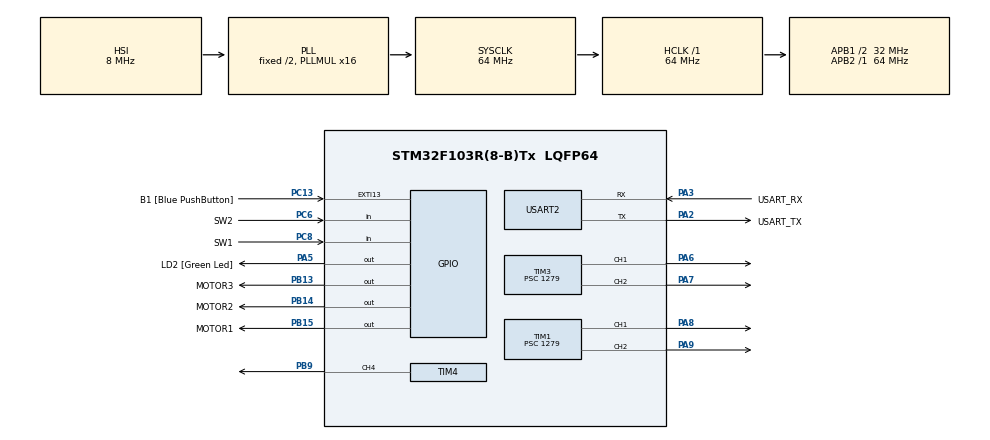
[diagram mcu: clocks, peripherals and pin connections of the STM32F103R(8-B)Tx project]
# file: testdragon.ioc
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Mcu.Family=STM32F1
Mcu.Name=STM32F103R(8-B)Tx
Mcu.Package=LQFP64
NVIC.EXTI15_10_IRQn=true\:0\:0\:false\:false\:true\:true\:true\:true
NVIC.PriorityGroup=NVIC_PRIORITYGROUP_4
NVIC.USART2_IRQn=true\:0\:0\:false\:false\:true\:true\:true\:true
PA13.GPIO_Label=TMS
PA13.Mode=Serial_Wire
PA13.Signal=SYS_JTMS-SWDIO
PA14.GPIO_Label=TCK
PA14.Mode=Serial_Wire
PA14.Signal=SYS_JTCK-SWCLK
PA2.GPIO_Label=USART_TX
PA2.GPIO_Mode=GPIO_MODE_AF_PP
PA2.GPIO_PuPd=GPIO_NOPULL
PA2.GPIO_Speed=GPIO_SPEED_FREQ_LOW
PA2.Mode=Asynchronous
PA2.Signal=USART2_TX
PA3.GPIO_Label=USART_RX
PA3.GPIO_Mode=GPIO_MODE_AF_PP
PA3.GPIO_PuPd=GPIO_NOPULL
PA3.GPIO_Speed=GPIO_SPEED_FREQ_LOW
PA3.Mode=Asynchronous
PA3.Signal=USART2_RX
PA5.GPIO_Label=LD2 [Green Led]
PA5.GPIO_ModeDefaultOutputPP=GPIO_MODE_OUTPUT_PP
PA5.GPIO_PuPd=GPIO_NOPULL
PA5.GPIO_Speed=GPIO_SPEED_FREQ_LOW
PA5.Signal=GPIO_Output
PA6.Signal=S_TIM3_CH1
PA7.Signal=S_TIM3_CH2
PA8.Signal=S_TIM1_CH1
PA9.Signal=S_TIM1_CH2
PB13.GPIO_Label=MOTOR3
PB13.GPIO_PuPd=GPIO_PULLUP
PB13.Signal=GPIO_Output
PB14.GPIO_Label=MOTOR2
PB14.GPIO_PuPd=GPIO_PULLUP
PB14.Signal=GPIO_Output
PB15.GPIO_Label=MOTOR1
PB15.GPIO_PuPd=GPIO_PULLUP
PB15.Signal=GPIO_Output
PB3.GPIO_Label=SWO
PB3.Signal=SYS_JTDO-TRACESWO
PB9.Signal=S_TIM4_CH4
PC13-TAMPER-RTC.GPIO_Label=B1 [Blue PushButton]
PC13-TAMPER-RTC.GPIO_PuPd=GPIO_NOPULL
PC13-TAMPER-RTC.Signal=GPXTI13
PC14-OSC32_IN.Signal=RCC_OSC32_IN
PC15-OSC32_OUT.Signal=RCC_OSC32_OUT
PC6.GPIO_Label=SW2
PC6.GPIO_PuPd=GPIO_PULLUP
PC6.Signal=GPIO_Input
PC8.GPIO_Label=SW1
PC8.GPIO_PuPd=GPIO_PULLUP
PC8.Signal=GPIO_Input
PD0-OSC_IN.Signal=RCC_OSC_IN
PD1-OSC_OUT.Signal=RCC_OSC_OUT
ProjectManager.HeapSize=0x200
ProjectManager.StackSize=0x400
ProjectManager.TargetToolchain=STM32CubeIDE
RCC.AHBFreq_Value=64000000
RCC.APB1CLKDivider=RCC_HCLK_DIV2
RCC.APB1Freq_Value=32000000
RCC.APB1TimFreq_Value=64000000
RCC.APB2Freq_Value=64000000
RCC.APB2TimFreq_Value=64000000
RCC.HCLKFreq_Value=64000000
RCC.PLLMUL=RCC_PLL_MUL16
RCC.RTCClockSelection=RCC_RTCCLKSOURCE_LSE
RCC.SYSCLKFreq_VALUE=64000000
RCC.SYSCLKSource=RCC_SYSCLKSOURCE_PLLCLK
RCC.USBFreq_Value=64000000
SH.S_TIM1_CH1.0=TIM1_CH1,PWM Generation1 CH1
SH.S_TIM1_CH2.0=TIM1_CH2,PWM Generation2 CH2
SH.S_TIM3_CH1.0=TIM3_CH1,PWM Generation1 CH1
SH.S_TIM3_CH2.0=TIM3_CH2,PWM Generation2 CH2
SH.S_TIM4_CH4.0=TIM4_CH4,PWM Generation4 CH4
TIM1.Channel-PWM\ Generation1\ CH1=TIM_CHANNEL_1
TIM1.Channel-PWM\ Generation2\ CH2=TIM_CHANNEL_2
TIM1.Period=999
TIM1.Prescaler=1279
TIM3.Channel-PWM\ Generation1\ CH1=TIM_CHANNEL_1
TIM3.Channel-PWM\ Generation2\ CH2=TIM_CHANNEL_2
TIM3.Period=999
TIM3.Prescaler=1279
TIM4.Channel-PWM\ Generation4\ CH4=TIM_CHANNEL_4
TIM4.Period=999
TIM4.Prescaler=1279
USART2.VirtualMode=VM_ASYNC
VP_TIM1_VS_ClockSourceINT.Mode=Internal
VP_TIM3_VS_ClockSourceINT.Mode=Internal
VP_TIM4_VS_ClockSourceINT.Mode=Internal
board=NUCLEO-F103RB

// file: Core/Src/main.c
/* USER CODE BEGIN Header */
/**
  ******************************************************************************
  * @file           : main.c
  * @brief          : Main program body
  ******************************************************************************
  * @attention
  *
  * Copyright (c) 2023 STMicroelectronics.
  * All rights reserved.
  *
  * This software is licensed under terms that can be found in the LICENSE file
  * in the root directory of this software component.
  * If no LICENSE file comes with this software, it is provided AS-IS.
  *
  ******************************************************************************
  */
/* USER CODE END Header */
#include "main.h"

/* USER CODE BEGIN Includes */
#include<stdio.h>
#include<string.h>
/* USER CODE END Includes */

/* USER CODE BEGIN PD */
#define ON  0
#define OFF 1
#define PINDIRA GPIO_PIN_15
#define PINDIRB GPIO_PIN_14
#define PINPWM GPIO_PIN_13
#define SWUP GPIO_PIN_8
#define SWDN GPIO_PIN_6
/* USER CODE END PD */

TIM_HandleTypeDef htim1;
TIM_HandleTypeDef htim3;
TIM_HandleTypeDef htim4;

UART_HandleTypeDef huart2;

/* USER CODE BEGIN PV */
uint8_t str[10];
uint8_t pos_pan;
uint8_t pos_tilt;
uint8_t cam_tilt;
uint8_t digits;
int debounce_delay = 160;
int led_state  = 0;
char SystemStatus[20];
/* USER CODE END PV */

void SystemClock_Config(void);
static void MX_GPIO_Init(void);
static void MX_USART2_UART_Init(void);
static void MX_TIM1_Init(void);
static void MX_TIM4_Init(void);
static void MX_TIM3_Init(void);
/* USER CODE BEGIN PFP */
int check_digit(void);
void _up();
void _down();
void _stop();
/* USER CODE END PFP */

/* USER CODE BEGIN 0 */
#ifdef __GNUC__
/* With GCC, small printf (option LD Linker->Libraries->Small printf
   set to 'Yes') calls __io_putchar() */
#define PUTCHAR_PROTOTYPE int __io_putchar(int ch)
#else
#define PUTCHAR_PROTOTYPE int fputc(int ch, FILE *f)
#endif /* __GNUC__ */

/**
  * @brief  Retargets the C library printf function to the USART.
  * @param  None
  * @retval None
  */
PUTCHAR_PROTOTYPE
{
  /* Place your implementation of fputc here */
  /* e.g. write a character to the USART1 and Loop until the end of transmission */
  if (ch == '\n')
    HAL_UART_Transmit (&huart2, (uint8_t*) "\r", 1, 0xFFFF);
  HAL_UART_Transmit (&huart2, (uint8_t*) &ch, 1, 0xFFFF);

  return ch;
}
/* USER CODE END 0 */

int main(void)
{
  /* USER CODE BEGIN 1 */

	void _up() {
	  //digitalWrite(pinDirA, LOW );
	  //digitalWrite(pinDirB, HIGH);
	  //analogWrite(pinPWM, pwmValue);
		HAL_GPIO_WritePin(GPIOB, GPIO_PIN_15, 0);
		HAL_GPIO_WritePin(GPIOB, GPIO_PIN_14, 1);
		HAL_GPIO_WritePin(GPIOB, GPIO_PIN_13, 1);
	}

	void _down() {
	  //digitalWrite(pinDirA, HIGH);
	  //digitalWrite(pinDirB, LOW );
	  //analogWrite(pinPWM, pwmValue);
	  HAL_GPIO_WritePin(GPIOB,GPIO_PIN_15 , 1);
	  HAL_GPIO_WritePin(GPIOB, GPIO_PIN_14, 0);
	  HAL_GPIO_WritePin(GPIOB, GPIO_PIN_13, 1);
	}

	void _stop() {
	  //digitalWrite(pinDirA, HIGH);
	  //digitalWrite(pinDirB, HIGH);
	  //analogWrite(pinPWM, LOW);
		HAL_GPIO_WritePin(GPIOB, GPIO_PIN_15, 1);
		HAL_GPIO_WritePin(GPIOB, GPIO_PIN_14, 1);
		HAL_GPIO_WritePin(GPIOB, GPIO_PIN_13, 0);
	}

  /* USER CODE END 1 */

  /* MCU Configuration--------------------------------------------------------*/

  /* Reset of all peripherals, Initializes the Flash interface and the Systick. */
  HAL_Init();

  /* Configure the system clock */
  SystemClock_Config();

  /* Initialize all configured peripherals */
  MX_GPIO_Init();
  MX_USART2_UART_Init();
  MX_TIM1_Init();
  MX_TIM4_Init();
  MX_TIM3_Init();

  /* Infinite loop */
  /* USER CODE BEGIN WHILE */
	  HAL_TIM_PWM_Start(&htim1,TIM_CHANNEL_1);
	  HAL_TIM_PWM_Start(&htim1,TIM_CHANNEL_2);
	  HAL_TIM_PWM_Start(&htim3,TIM_CHANNEL_1);
	  HAL_TIM_PWM_Start(&htim3,TIM_CHANNEL_2);
	  HAL_TIM_PWM_Start(&htim4,TIM_CHANNEL_4);

	  printf("===\n");
	  pos_pan = 100;
	  pos_tilt = 25;
	  cam_tilt = 111;

//dw > down
//up > up
	  while (1)
	  {
    /* USER CODE END WHILE */

    /* USER CODE BEGIN 3 */

		  /////////////////////////////////////////////////////////////////////////////////////////////////////GPIO

		  HAL_UART_Receive(&huart2, str, 2, 100);

		  char *ptr1_str = strstr(str, "0"); // sub_moter close
		  char *ptr2_str = strstr(str, "1"); // sub_moter open
		  //
		  char *ptr3_str = strstr(str, "DW"); //camera down
		  char *ptr4_str = strstr(str, "UP"); //camera up

		  char *ptr5_str = strstr(str, "RE"); //camera 75
		  char *ptr6_str = strstr(str, "CT"); //camera 110

		  char *ptr7_str = strstr(str, "3"); //LIFT DOWN
		  char *ptr8_str = strstr(str, "4"); //LIFT UP
		  strcpy(SystemStatus, "SystemStatus");

		  /////////////////////////////////////////////////////////////////////////////////////////////
		  if(ptr7_str !=NULL) {

			  //HAL_GPIO_WritePin(GPIOx, GPIO_Pin, PinState)
			  strcpy(SystemStatus, "LIFTUP");
			  //printf("LIFTUP");
			  _up();

			  while (HAL_GPIO_ReadPin(GPIOC,GPIO_PIN_8) == 1){}
				  _stop();
			  //printf("Lift up complete!");
			  strcpy(SystemStatus, "Lift up complete!");

		  }
		  if (ptr8_str !=NULL){
			  //HAL_GPIO_WritePin(GPIOx, GPIO_Pin, PinState)
			  strcpy(SystemStatus, "LIFTDOWN");
			  //printf("LIFTDOWN");
			  _down();

			  while  (HAL_GPIO_ReadPin(GPIOC,GPIO_PIN_6) == 1){}
				  _stop();
			  //printf("Lift down complete!");
			  strcpy(SystemStatus, "Lift down complete!");

		  }

		  //////////////////////////////////////////////////////////////////////////////////////////////////////TIMER

	 	  if(ptr1_str !=NULL){ // sub_moter close

			  pos_pan = 100;
			  pos_tilt = 25;
			  strcpy(SystemStatus, "sub_moter close");
		  }
		  if(ptr2_str !=NULL ){ // sub_moter open

			  pos_pan = 30;
			  pos_tilt = 100;
			  strcpy(SystemStatus, "sub_moter open");

		  }
		  ///////////////////
	 	  if(ptr3_str !=NULL){ // DW, camera down

	 		 cam_tilt = cam_tilt - 1;
	 		strcpy(SystemStatus, "DW, camera down");

	 	  }
	 	  if(ptr4_str !=NULL ){ //UP, camera up

	 		 cam_tilt = cam_tilt + 1;
	 		strcpy(SystemStatus, "UP, camera up");

	 	  }
	 	  /////////////
	 	  if(ptr5_str !=NULL){ // RE, camera 75

	 		 cam_tilt = 120;
	 		strcpy(SystemStatus, "RE, camera 75");

	 	  }
	 	  if(ptr6_str !=NULL ){ //CT, camera 110

	 		 cam_tilt = 75;
	 		strcpy(SystemStatus, "CT, camera 110");

	 	  }
	 	  /////////////
	 	  if(cam_tilt <= 94){
	 		 cam_tilt =94;
	 	  }
	 	  if(cam_tilt >= 111){
			 cam_tilt =111;
		  }

	 	 TIM1 -> CCR1 = pos_tilt;
	 	 TIM1 -> CCR2 = pos_pan;
	 	 TIM4 -> CCR4 = cam_tilt;

	//	  __HAL_TIM_SetCompare(&htim1, &hadc1, pos_tilt);
	//	  __HAL_TIM_SetCompare(&htim1, &hadc2, pos_pan);
	 	//TIM1->CCR1 = pos_pan;
	 	//TIM1->CCR2= pos_tilt;
		  printf("SystemStatus = %s pos_pan = %d pos_tlt = %d cam_tilt =%d   \n",SystemStatus, pos_pan, pos_tilt, cam_tilt);

	  }

  /* USER CODE END 3 */
}

void SystemClock_Config(void)
{
  RCC_OscInitTypeDef RCC_OscInitStruct = {0};
  RCC_ClkInitTypeDef RCC_ClkInitStruct = {0};

  /** Initializes the RCC Oscillators according to the specified parameters
  * in the RCC_OscInitTypeDef structure.
  */
  RCC_OscInitStruct.OscillatorType = RCC_OSCILLATORTYPE_HSI;
  RCC_OscInitStruct.HSIState = RCC_HSI_ON;
  RCC_OscInitStruct.HSICalibrationValue = RCC_HSICALIBRATION_DEFAULT;
  RCC_OscInitStruct.PLL.PLLState = RCC_PLL_ON;
  RCC_OscInitStruct.PLL.PLLSource = RCC_PLLSOURCE_HSI_DIV2;
  RCC_OscInitStruct.PLL.PLLMUL = RCC_PLL_MUL16;
  if (HAL_RCC_OscConfig(&RCC_OscInitStruct) != HAL_OK)
  {
    Error_Handler();
  }

  /** Initializes the CPU, AHB and APB buses clocks
  */
  RCC_ClkInitStruct.ClockType = RCC_CLOCKTYPE_HCLK|RCC_CLOCKTYPE_SYSCLK
                              |RCC_CLOCKTYPE_PCLK1|RCC_CLOCKTYPE_PCLK2;
  RCC_ClkInitStruct.SYSCLKSource = RCC_SYSCLKSOURCE_PLLCLK;
  RCC_ClkInitStruct.AHBCLKDivider = RCC_SYSCLK_DIV1;
  RCC_ClkInitStruct.APB1CLKDivider = RCC_HCLK_DIV2;
  RCC_ClkInitStruct.APB2CLKDivider = RCC_HCLK_DIV1;

  if (HAL_RCC_ClockConfig(&RCC_ClkInitStruct, FLASH_LATENCY_2) != HAL_OK)
  {
    Error_Handler();
  }
}

static void MX_TIM1_Init(void)
{

  TIM_ClockConfigTypeDef sClockSourceConfig = {0};
  TIM_MasterConfigTypeDef sMasterConfig = {0};
  TIM_OC_InitTypeDef sConfigOC = {0};
  TIM_BreakDeadTimeConfigTypeDef sBreakDeadTimeConfig = {0};

  htim1.Instance = TIM1;
  htim1.Init.Prescaler = 1279;
  htim1.Init.CounterMode = TIM_COUNTERMODE_UP;
  htim1.Init.Period = 999;
  htim1.Init.ClockDivision = TIM_CLOCKDIVISION_DIV1;
  htim1.Init.RepetitionCounter = 0;
  htim1.Init.AutoReloadPreload = TIM_AUTORELOAD_PRELOAD_DISABLE;
  if (HAL_TIM_Base_Init(&htim1) != HAL_OK)
  {
    Error_Handler();
  }
  sClockSourceConfig.ClockSource = TIM_CLOCKSOURCE_INTERNAL;
  if (HAL_TIM_ConfigClockSource(&htim1, &sClockSourceConfig) != HAL_OK)
  {
    Error_Handler();
  }
  if (HAL_TIM_PWM_Init(&htim1) != HAL_OK)
  {
    Error_Handler();
  }
  sMasterConfig.MasterOutputTrigger = TIM_TRGO_RESET;
  sMasterConfig.MasterSlaveMode = TIM_MASTERSLAVEMODE_DISABLE;
  if (HAL_TIMEx_MasterConfigSynchronization(&htim1, &sMasterConfig) != HAL_OK)
  {
    Error_Handler();
  }
  sConfigOC.OCMode = TIM_OCMODE_PWM1;
  sConfigOC.Pulse = 0;
  sConfigOC.OCPolarity = TIM_OCPOLARITY_HIGH;
  sConfigOC.OCNPolarity = TIM_OCNPOLARITY_HIGH;
  sConfigOC.OCFastMode = TIM_OCFAST_DISABLE;
  sConfigOC.OCIdleState = TIM_OCIDLESTATE_RESET;
  sConfigOC.OCNIdleState = TIM_OCNIDLESTATE_RESET;
  if (HAL_TIM_PWM_ConfigChannel(&htim1, &sConfigOC, TIM_CHANNEL_1) != HAL_OK)
  {
    Error_Handler();
  }
  if (HAL_TIM_PWM_ConfigChannel(&htim1, &sConfigOC, TIM_CHANNEL_2) != HAL_OK)
  {
    Error_Handler();
  }
  sBreakDeadTimeConfig.OffStateRunMode = TIM_OSSR_DISABLE;
  sBreakDeadTimeConfig.OffStateIDLEMode = TIM_OSSI_DISABLE;
  sBreakDeadTimeConfig.LockLevel = TIM_LOCKLEVEL_OFF;
  sBreakDeadTimeConfig.DeadTime = 0;
  sBreakDeadTimeConfig.BreakState = TIM_BREAK_DISABLE;
  sBreakDeadTimeConfig.BreakPolarity = TIM_BREAKPOLARITY_HIGH;
  sBreakDeadTimeConfig.AutomaticOutput = TIM_AUTOMATICOUTPUT_DISABLE;
  if (HAL_TIMEx_ConfigBreakDeadTime(&htim1, &sBreakDeadTimeConfig) != HAL_OK)
  {
    Error_Handler();
  }
  HAL_TIM_MspPostInit(&htim1);

}

static void MX_TIM3_Init(void)
{

  TIM_ClockConfigTypeDef sClockSourceConfig = {0};
  TIM_MasterConfigTypeDef sMasterConfig = {0};
  TIM_OC_InitTypeDef sConfigOC = {0};

  htim3.Instance = TIM3;
  htim3.Init.Prescaler = 1279;
  htim3.Init.CounterMode = TIM_COUNTERMODE_UP;
  htim3.Init.Period = 999;
  htim3.Init.ClockDivision = TIM_CLOCKDIVISION_DIV1;
  htim3.Init.AutoReloadPreload = TIM_AUTORELOAD_PRELOAD_DISABLE;
  if (HAL_TIM_Base_Init(&htim3) != HAL_OK)
  {
    Error_Handler();
  }
  sClockSourceConfig.ClockSource = TIM_CLOCKSOURCE_INTERNAL;
  if (HAL_TIM_ConfigClockSource(&htim3, &sClockSourceConfig) != HAL_OK)
  {
    Error_Handler();
  }
  if (HAL_TIM_PWM_Init(&htim3) != HAL_OK)
  {
    Error_Handler();
  }
  sMasterConfig.MasterOutputTrigger = TIM_TRGO_RESET;
  sMasterConfig.MasterSlaveMode = TIM_MASTERSLAVEMODE_DISABLE;
  if (HAL_TIMEx_MasterConfigSynchronization(&htim3, &sMasterConfig) != HAL_OK)
  {
    Error_Handler();
  }
  sConfigOC.OCMode = TIM_OCMODE_PWM1;
  sConfigOC.Pulse = 0;
  sConfigOC.OCPolarity = TIM_OCPOLARITY_HIGH;
  sConfigOC.OCFastMode = TIM_OCFAST_DISABLE;
  if (HAL_TIM_PWM_ConfigChannel(&htim3, &sConfigOC, TIM_CHANNEL_1) != HAL_OK)
  {
    Error_Handler();
  }
  if (HAL_TIM_PWM_ConfigChannel(&htim3, &sConfigOC, TIM_CHANNEL_2) != HAL_OK)
  {
    Error_Handler();
  }
  HAL_TIM_MspPostInit(&htim3);

}

static void MX_TIM4_Init(void)
{

  TIM_ClockConfigTypeDef sClockSourceConfig = {0};
  TIM_MasterConfigTypeDef sMasterConfig = {0};
  TIM_OC_InitTypeDef sConfigOC = {0};

  htim4.Instance = TIM4;
  htim4.Init.Prescaler = 1279;
  htim4.Init.CounterMode = TIM_COUNTERMODE_UP;
  htim4.Init.Period = 999;
  htim4.Init.ClockDivision = TIM_CLOCKDIVISION_DIV1;
  htim4.Init.AutoReloadPreload = TIM_AUTORELOAD_PRELOAD_DISABLE;
  if (HAL_TIM_Base_Init(&htim4) != HAL_OK)
  {
    Error_Handler();
  }
  sClockSourceConfig.ClockSource = TIM_CLOCKSOURCE_INTERNAL;
  if (HAL_TIM_ConfigClockSource(&htim4, &sClockSourceConfig) != HAL_OK)
  {
    Error_Handler();
  }
  if (HAL_TIM_PWM_Init(&htim4) != HAL_OK)
  {
    Error_Handler();
  }
  sMasterConfig.MasterOutputTrigger = TIM_TRGO_RESET;
  sMasterConfig.MasterSlaveMode = TIM_MASTERSLAVEMODE_DISABLE;
  if (HAL_TIMEx_MasterConfigSynchronization(&htim4, &sMasterConfig) != HAL_OK)
  {
    Error_Handler();
  }
  sConfigOC.OCMode = TIM_OCMODE_PWM1;
  sConfigOC.Pulse = 0;
  sConfigOC.OCPolarity = TIM_OCPOLARITY_HIGH;
  sConfigOC.OCFastMode = TIM_OCFAST_DISABLE;
  if (HAL_TIM_PWM_ConfigChannel(&htim4, &sConfigOC, TIM_CHANNEL_4) != HAL_OK)
  {
    Error_Handler();
  }
  HAL_TIM_MspPostInit(&htim4);

}

static void MX_USART2_UART_Init(void)
{

  huart2.Instance = USART2;
  huart2.Init.BaudRate = 115200;
  huart2.Init.WordLength = UART_WORDLENGTH_8B;
  huart2.Init.StopBits = UART_STOPBITS_1;
  huart2.Init.Parity = UART_PARITY_NONE;
  huart2.Init.Mode = UART_MODE_TX_RX;
  huart2.Init.HwFlowCtl = UART_HWCONTROL_NONE;
  huart2.Init.OverSampling = UART_OVERSAMPLING_16;
  if (HAL_UART_Init(&huart2) != HAL_OK)
  {
    Error_Handler();
  }

}

static void MX_GPIO_Init(void)
{
  GPIO_InitTypeDef GPIO_InitStruct = {0};

  /* GPIO Ports Clock Enable */
  __HAL_RCC_GPIOC_CLK_ENABLE();
  __HAL_RCC_GPIOD_CLK_ENABLE();
  __HAL_RCC_GPIOA_CLK_ENABLE();
  __HAL_RCC_GPIOB_CLK_ENABLE();

  /*Configure GPIO pin Output Level */
  HAL_GPIO_WritePin(LD2_GPIO_Port, LD2_Pin, GPIO_PIN_RESET);

  /*Configure GPIO pin Output Level */
  HAL_GPIO_WritePin(GPIOB, MOTOR3_Pin|MOTOR2_Pin|MOTOR1_Pin, GPIO_PIN_RESET);

  /*Configure GPIO pin : B1_Pin */
  GPIO_InitStruct.Pin = B1_Pin;
  GPIO_InitStruct.Mode = GPIO_MODE_IT_RISING;
  GPIO_InitStruct.Pull = GPIO_NOPULL;
  HAL_GPIO_Init(B1_GPIO_Port, &GPIO_InitStruct);

  /*Configure GPIO pin : LD2_Pin */
  GPIO_InitStruct.Pin = LD2_Pin;
  GPIO_InitStruct.Mode = GPIO_MODE_OUTPUT_PP;
  GPIO_InitStruct.Pull = GPIO_NOPULL;
  GPIO_InitStruct.Speed = GPIO_SPEED_FREQ_LOW;
  HAL_GPIO_Init(LD2_GPIO_Port, &GPIO_InitStruct);

  /*Configure GPIO pins : MOTOR3_Pin MOTOR2_Pin MOTOR1_Pin */
  GPIO_InitStruct.Pin = MOTOR3_Pin|MOTOR2_Pin|MOTOR1_Pin;
  GPIO_InitStruct.Mode = GPIO_MODE_OUTPUT_PP;
  GPIO_InitStruct.Pull = GPIO_PULLUP;
  GPIO_InitStruct.Speed = GPIO_SPEED_FREQ_LOW;
  HAL_GPIO_Init(GPIOB, &GPIO_InitStruct);

  /*Configure GPIO pins : SW2_Pin SW1_Pin */
  GPIO_InitStruct.Pin = SW2_Pin|SW1_Pin;
  GPIO_InitStruct.Mode = GPIO_MODE_INPUT;
  GPIO_InitStruct.Pull = GPIO_PULLUP;
  HAL_GPIO_Init(GPIOC, &GPIO_InitStruct);

  /* EXTI interrupt init*/
  HAL_NVIC_SetPriority(EXTI15_10_IRQn, 0, 0);
  HAL_NVIC_EnableIRQ(EXTI15_10_IRQn);

}

void Error_Handler(void)
{
  __disable_irq();
  while (1)
  {
  }
}
